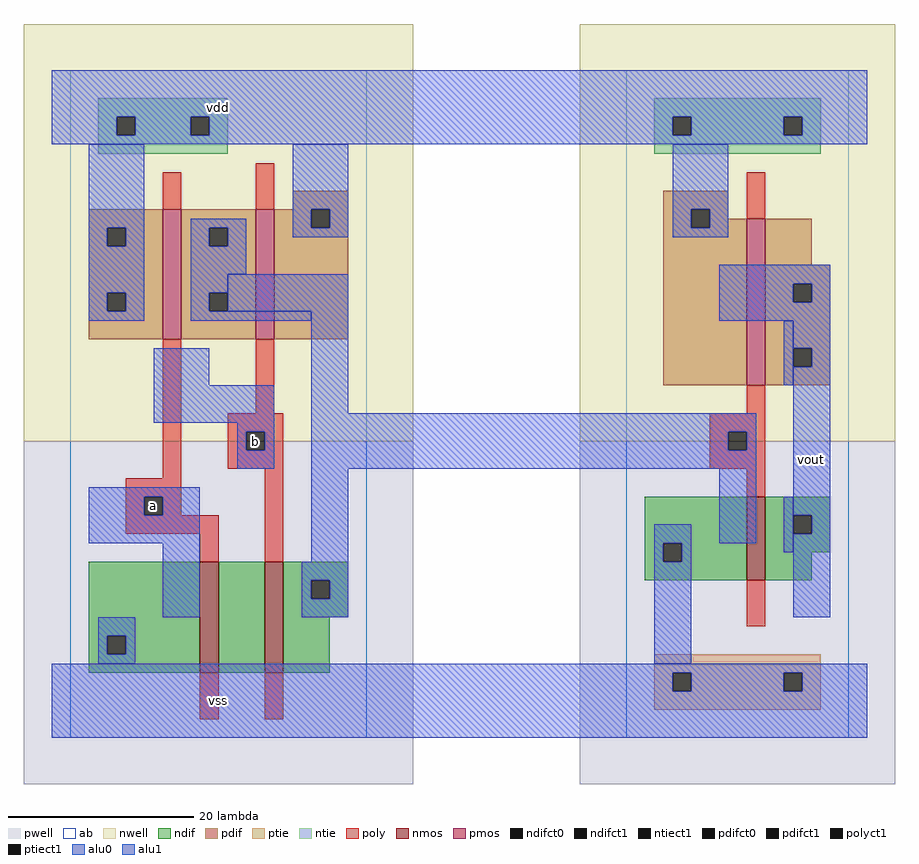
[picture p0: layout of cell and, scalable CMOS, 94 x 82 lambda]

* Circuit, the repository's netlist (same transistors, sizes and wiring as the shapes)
* SPICE3 file created from and.ext - technology: scmos

.option scale=0.055u

M1000 a_17_48# a vdd vdd pmos w=14 l=2
+  ad=112 pd=44 as=419 ps=152
M1001 vdd b a_17_48# vdd pmos w=14 l=2
+  ad=0 pd=0 as=0 ps=0
M1002 vout a_17_48# vdd vdd pmos w=18 l=2
+  ad=116 pd=50 as=0 ps=0
M1003 a_21_12# a vss vss nmos w=12 l=2
+  ad=60 pd=34 as=243 ps=88
M1004 a_17_48# b a_21_12# vss nmos w=12 l=2
+  ad=72 pd=38 as=0 ps=0
M1005 vout a_17_48# vss vss nmos w=9 l=2
+  ad=57 pd=32 as=0 ps=0

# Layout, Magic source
magic
tech scmos
<< ab >>
rect 5 5 37 77
rect 65 5 89 77
<< nwell >>
rect 0 37 42 82
rect 60 37 94 82
<< pwell >>
rect 0 0 42 37
rect 60 0 94 37
<< poly >>
rect 15 62 17 66
rect 25 62 27 67
rect 78 61 80 66
rect 15 33 17 48
rect 25 40 27 48
rect 78 40 80 43
rect 22 38 28 40
rect 22 36 24 38
rect 26 36 28 38
rect 22 34 28 36
rect 74 38 80 40
rect 74 36 76 38
rect 78 36 80 38
rect 74 34 80 36
rect 11 31 17 33
rect 11 29 13 31
rect 15 29 17 31
rect 11 27 21 29
rect 19 24 21 27
rect 26 24 28 34
rect 78 31 80 34
rect 78 17 80 22
rect 19 7 21 12
rect 26 7 28 12
<< ndif >>
rect 67 26 78 31
rect 67 24 69 26
rect 71 24 78 26
rect 7 16 19 24
rect 7 14 9 16
rect 11 14 19 16
rect 7 12 19 14
rect 21 12 26 24
rect 28 22 35 24
rect 67 22 78 24
rect 80 29 87 31
rect 80 27 83 29
rect 85 27 87 29
rect 80 25 87 27
rect 80 22 85 25
rect 28 20 31 22
rect 33 20 35 22
rect 28 18 35 20
rect 28 12 33 18
<< pdif >>
rect 29 62 35 64
rect 7 60 15 62
rect 7 58 9 60
rect 11 58 15 60
rect 7 53 15 58
rect 7 51 9 53
rect 11 51 15 53
rect 7 48 15 51
rect 17 60 25 62
rect 17 58 20 60
rect 22 58 25 60
rect 17 53 25 58
rect 17 51 20 53
rect 22 51 25 53
rect 17 48 25 51
rect 27 60 31 62
rect 33 60 35 62
rect 27 48 35 60
rect 69 62 76 64
rect 69 60 72 62
rect 74 61 76 62
rect 74 60 78 61
rect 69 43 78 60
rect 80 56 85 61
rect 80 54 87 56
rect 80 52 83 54
rect 85 52 87 54
rect 80 47 87 52
rect 80 45 83 47
rect 85 45 87 47
rect 80 43 87 45
<< alu1 >>
rect 3 72 91 77
rect 3 70 10 72
rect 12 70 18 72
rect 20 70 70 72
rect 72 70 82 72
rect 84 70 91 72
rect 3 69 91 70
rect 22 51 35 55
rect 14 43 20 47
rect 14 39 27 43
rect 23 38 27 39
rect 23 36 24 38
rect 26 36 27 38
rect 23 34 27 36
rect 31 40 35 51
rect 75 54 87 56
rect 75 52 83 54
rect 85 52 87 54
rect 75 50 87 52
rect 83 47 87 50
rect 85 45 87 47
rect 31 38 79 40
rect 31 36 76 38
rect 78 36 79 38
rect 31 34 79 36
rect 7 31 19 32
rect 7 29 13 31
rect 15 29 19 31
rect 7 26 19 29
rect 15 18 19 26
rect 31 24 35 34
rect 30 22 35 24
rect 30 20 31 22
rect 33 20 35 22
rect 30 18 35 20
rect 75 26 79 34
rect 83 29 87 45
rect 85 27 87 29
rect 83 18 87 27
rect 3 12 91 13
rect 3 10 70 12
rect 72 10 82 12
rect 84 10 91 12
rect 3 5 91 10
<< ptie >>
rect 68 12 86 14
rect 68 10 70 12
rect 72 10 82 12
rect 84 10 86 12
rect 68 8 86 10
<< ntie >>
rect 8 72 22 74
rect 8 70 10 72
rect 12 70 18 72
rect 20 70 22 72
rect 8 68 22 70
rect 68 72 86 74
rect 68 70 70 72
rect 72 70 82 72
rect 84 70 86 72
rect 68 68 86 70
<< nmos >>
rect 19 12 21 24
rect 26 12 28 24
rect 78 22 80 31
<< pmos >>
rect 15 48 17 62
rect 25 48 27 62
rect 78 43 80 61
<< polyct1 >>
rect 24 36 26 38
rect 76 36 78 38
rect 13 29 15 31
<< ndifct0 >>
rect 69 24 71 26
rect 9 14 11 16
<< ndifct1 >>
rect 83 27 85 29
rect 31 20 33 22
<< ntiect1 >>
rect 10 70 12 72
rect 18 70 20 72
rect 70 70 72 72
rect 82 70 84 72
<< ptiect1 >>
rect 70 10 72 12
rect 82 10 84 12
<< pdifct0 >>
rect 9 58 11 60
rect 9 51 11 53
rect 20 58 22 60
rect 20 51 22 53
rect 31 60 33 62
rect 72 60 74 62
<< pdifct1 >>
rect 83 52 85 54
rect 83 45 85 47
<< alu0 >>
rect 7 60 13 69
rect 29 62 35 69
rect 7 58 9 60
rect 11 58 13 60
rect 7 53 13 58
rect 7 51 9 53
rect 11 51 13 53
rect 7 50 13 51
rect 18 60 24 61
rect 18 58 20 60
rect 22 58 24 60
rect 29 60 31 62
rect 33 60 35 62
rect 29 59 35 60
rect 70 62 76 69
rect 70 60 72 62
rect 74 60 76 62
rect 70 59 76 60
rect 18 55 24 58
rect 18 53 22 55
rect 18 51 20 53
rect 18 50 31 51
rect 82 43 83 50
rect 68 26 72 28
rect 68 24 69 26
rect 71 24 72 26
rect 82 25 83 31
rect 8 16 12 18
rect 8 14 9 16
rect 11 14 12 16
rect 8 13 12 14
rect 68 13 72 24
<< labels >>
rlabel alu1 21 9 21 9 4 vss
rlabel alu1 21 73 21 73 4 vdd
rlabel polyct1 13 29 15 31 1 a
rlabel polyct1 24 36 26 38 1 b
rlabel alu1 84 34 86 36 1 vout
<< end >>
